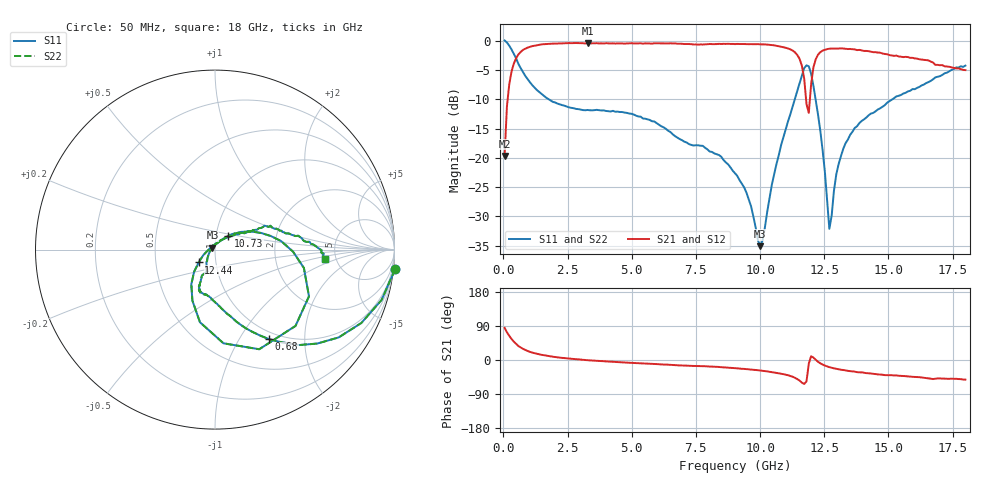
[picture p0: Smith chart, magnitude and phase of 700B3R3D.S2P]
!  American Technical Ceramics  Date:  3/13/98
!  One Norden Lane
!  Huntington Station,  NY.  11746-2102
!  Tel:  (516) 547-5700  Fax:  (516) 547-5748
!  Part Number  700B3R3D
!  Description: Porcelain, High Q, Low ESR
!  Application: Bypass, Coupling, Timing, Feedback
!  Tuning, Impedance Match, Blocking
# GHZ S DB R 50
! Freq  |S11|  S11 Ph  |S21|  S21 Ph  |S12|  S12 Ph  |S22|  S22 Ph
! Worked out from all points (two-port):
!   201 points, 50 MHz to 18 GHz, reference 50 ohm
!   highest |S21| = -0.35 dB at 3.28 GHz (marker M1); lowest = -19.6 dB at 50 MHz (marker M2)
!   |S21| within 3 dB of the highest: 459.9 MHz to 11.56 GHz (11.1 GHz wide, 185 % of centre); 12.16 GHz to 16.57 GHz (4.417 GHz wide, 30.8 % of centre)
!   lowest |S11| = -35.1 dB at 10.01 GHz (marker M3), VSWR 1.04, Z = 48.6 + j1.01 ohm
!   |S11| at or under -10 dB: 1.78 GHz to 11.35 GHz (9.573 GHz wide, 146 % of centre); 12.16 GHz to 15.14 GHz (2.977 GHz wide, 21.8 % of centre)
!   |S22| runs from -35.1 to 0.1 dB; largest |S21 - S12| = 0
!   S11 on the Smith chart (normalised r, x): 50 MHz: -2, -18; 680 MHz: 0.90, -1.36; 10.73 GHz: 1.15, +0.17; 12.44 GHz: 0.83, -0.12; 18 GHz: 4.09, -0.65
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0.05  0.08 -6.3  -19.65 84.8  -19.65 84.8  0.08 -6.3
0.14  -0.27 -16.9  -11.21 73.1  -11.21 73.1  -0.27 -16.9
0.23  -0.80 -26.6  -7.45 63.9  -7.45 63.9  -0.80 -26.6
0.68  -4.68 -58.9  -1.87 32.9  -1.87 32.9  -4.68 -58.9
1.49  -9.08 -80.8  -0.59 13.7  -0.59 13.7  -9.08 -80.8
3.1  -11.82 -100.4  -0.39 0.6  -0.39 0.6  -11.82 -100.4
3.28  -11.80 -101.8  -0.35 -0.6  -0.35 -0.6  -11.80 -101.8
6.06  -14.33 -114.1  -0.41 -11.1  -0.41 -11.1  -14.33 -114.1
9.03  -22.66 -126.5  -0.55 -21.7  -0.55 -21.7  -22.66 -126.5
9.47  -25.92 -138.1  -0.55 -24.0  -0.55 -24.0  -25.92 -138.1
10.01  -35.08 143.9  -0.58 -27.7  -0.58 -27.7  -35.08 143.9
10.73  -19.53 45.5  -0.92 -35.1  -0.92 -35.1  -19.53 45.5
11.45  -8.61 7.4  -2.40 -50.3  -2.40 -50.3  -8.61 7.4
11.72  -4.66 -26.5  -6.42 -63.4  -6.42 -63.4  -4.66 -26.5
11.9  -4.33 -66.1  -12.30 -9.4  -12.30 -9.4  -4.33 -66.1
12.08  -7.67 -101.7  -4.50 6.4  -4.50 6.4  -7.67 -101.7
12.44  -18.76 -141.8  -1.65 -12.1  -1.65 -12.1  -18.76 -141.8
12.7  -32.12 141.4  -1.33 -18.9  -1.33 -18.9  -32.12 141.4
12.97  -22.81 51.9  -1.30 -23.3  -1.30 -23.3  -22.81 51.9
13.33  -17.49 37.0  -1.34 -27.6  -1.34 -27.6  -17.49 37.0
15.04  -10.30 25.8  -2.42 -40.0  -2.42 -40.0  -10.30 25.8
18  -4.22 -4.6  -4.99 -51.8  -4.99 -51.8  -4.22 -4.6
